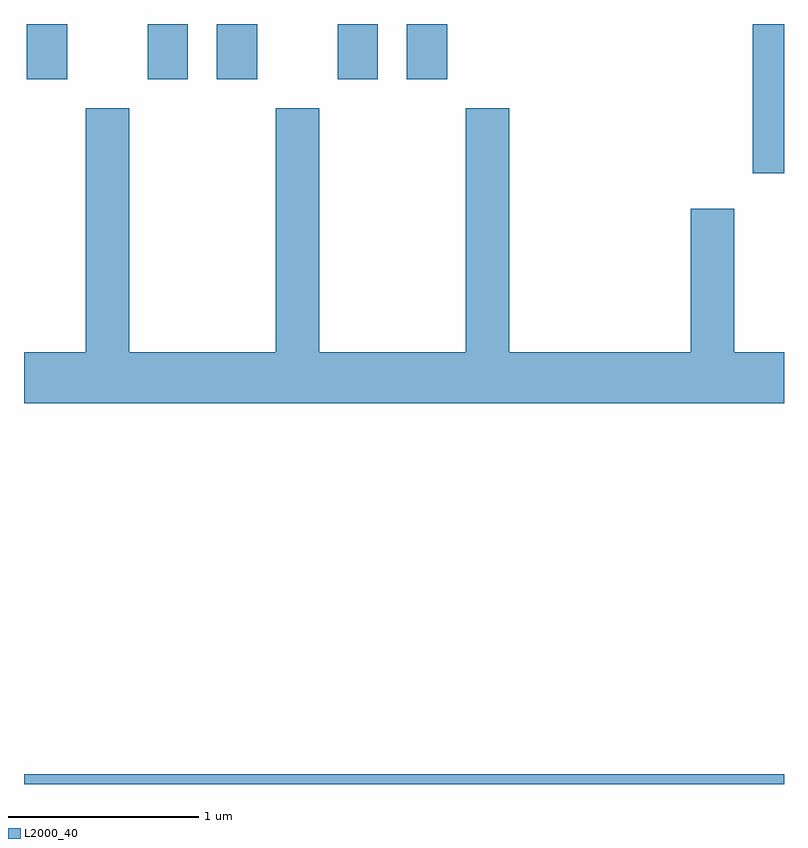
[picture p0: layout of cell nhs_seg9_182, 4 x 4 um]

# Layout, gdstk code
import gdstk
lib = gdstk.Library(unit=1e-6, precision=1e-09)
def R(c, l, rs):  # rectangles x0, y0, x1, y1
    for r in rs: c.add(gdstk.rectangle(r[:2], r[2:], *l))
def P(c, l, *ps):  # polygons
    for p in ps: c.add(gdstk.Polygon(p, *l))
L2000_40 = (2000, 40)

nhs_seg9_182 = lib.new_cell('nhs_seg9_182')
R(nhs_seg9_182, L2000_40, [(189.611,2036.432,193.611,2036.484), (193.446,2039.646,193.611,2040.432), (189.626,2040.141,189.839,2040.432), (190.261,2040.141,190.474,2040.432), (190.626,2040.141,190.839,2040.432), (191.261,2040.141,191.474,2040.432), (191.626,2040.141,191.839,2040.432)])
P(nhs_seg9_182, L2000_40, [(193.611,2038.704),(193.349,2038.704),(193.349,2039.459),(193.121,2039.459),(193.121,2038.704),(192.164,2038.704),(192.164,2039.989),(191.936,2039.989),(191.936,2038.704),(191.164,2038.704),(191.164,2039.989),(190.936,2039.989),(190.936,2038.704),(190.164,2038.704),(190.164,2039.989),(189.936,2039.989),(189.936,2038.704),(189.611,2038.704),(189.611,2038.436),(193.611,2038.436)])

lib.write_gds('nhs_seg9_182.gds')
